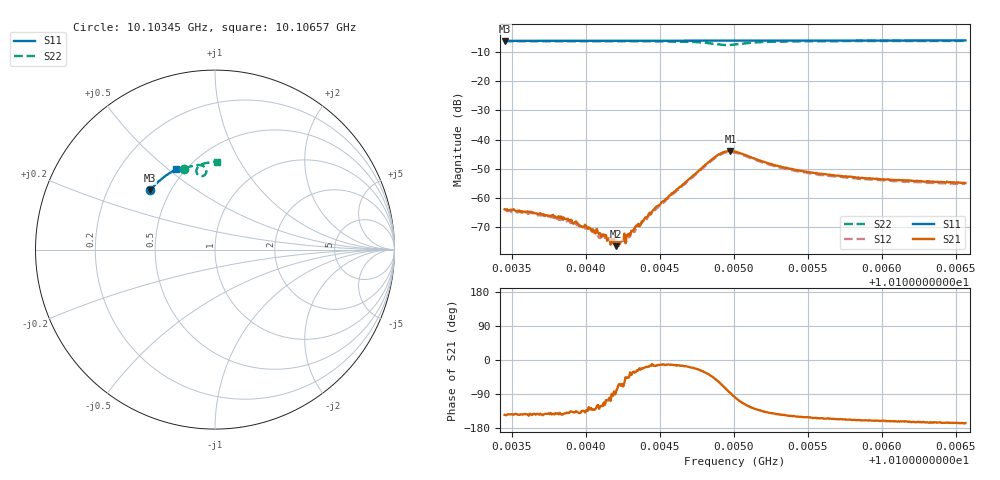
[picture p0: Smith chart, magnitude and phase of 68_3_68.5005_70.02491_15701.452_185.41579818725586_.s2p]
#  HZ  S  RI  R  50.00
! Rohde & Schwarz Vector Network Analyzer
! Rohde-Schwarz,ZNB20-2Port,1311601062101988,3.16
! Created: UTC 3/20/2024, 4:51:38 PM
! freq[Hz]  re:S11  im:S11  re:S21  im:S21  re:S12  im:S12  re:S22  im:S22
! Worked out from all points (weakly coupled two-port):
!   401 points, 10.10345 GHz to 10.10657 GHz, reference 50 ohm
!   highest |S21| = -43.93 dB at 10.10498 GHz (marker M1); lowest = -76.5 dB at 10.10421 GHz (marker M2)
!   lowest |S11| = -6.2 dB at 10.10345 GHz (marker M3), VSWR 2.92, Z = 19.4 + j16.9 ohm
!   |S11| at or under -10 dB: nowhere
!   |S22| runs from -7.6 to -6.2 dB; largest |S21 - S12| = 0.00067
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1.0103452e10  -0.3607 0.3312  -0.000521 -0.000372  -0.000486 -0.000391  -0.1704 0.4511
1.0103646e10  -0.3529 0.3403  -0.000441 -0.000344  -0.000415 -0.00036  -0.1581 0.4559
1.0103833e10  -0.3453 0.3487  -0.000386 -0.000288  -0.000333 -0.000297  -0.1456 0.4603
1.0103973e10  -0.3395 0.3549  -0.000228 -0.000234  -0.000209 -0.000275  -0.136 0.4635
1.0104036e10  -0.3369 0.3577  -0.000168 -0.000227  -0.000146 -0.000231  -0.1314 0.465
1.0104098e10  -0.3342 0.3603  -0.000132 -0.00021  -8.96e-05 -0.000185  -0.1269 0.4661
1.0104121e10  -0.3332 0.3614  -8.97e-05 -0.00022  -9.43e-05 -0.000208  -0.1252 0.4666
1.0104184e10  -0.3306 0.3641  -1.38e-05 -0.000169  4.79e-06 -0.000185  -0.1204 0.4677
1.0104207e10  -0.3294 0.3652  2.36e-05 -0.000148  1.5e-05 -0.000187  -0.1186 0.4682
1.0104238e10  -0.3281 0.3665  6.71e-05 -0.000167  0.000103 -0.00015  -0.1161 0.4687
1.0104246e10  -0.3279 0.3667  8.27e-05 -0.000163  8.93e-05 -0.000147  -0.1155 0.469
1.0104285e10  -0.3261 0.3684  0.000154 -0.000167  0.000183 -0.000154  -0.1123 0.4695
1.0104339e10  -0.3238 0.3707  0.000284 -0.000171  0.000275 -0.000113  -0.1077 0.4703
1.0104495e10  -0.3168 0.3771  0.000737 -0.000166  0.000721 -9.57e-05  -0.0929 0.4716
1.0104861e10  -0.2998 0.3915  0.00332 -0.00341  0.00346 -0.00294  -0.0478 0.4349
1.0104923e10  -0.297 0.3939  0.00235 -0.00549  0.00275 -0.00504  -0.0594 0.4143
1.0104977e10  -0.2946 0.3957  0.000275 -0.00635  0.000793 -0.00607  -0.0816 0.4097
1.0105009e10  -0.2933 0.397  -0.000942 -0.00616  -0.000404 -0.00593  -0.0928 0.4148
1.0105273e10  -0.2807 0.407  -0.00284 -0.00229  -0.00257 -0.00241  -0.0895 0.4654
1.010553e10  -0.2683 0.4163  -0.0024 -0.00125  -0.00219 -0.00141  -0.0658 0.478
1.0106051e10  -0.2417 0.4336  -0.00194 -0.000664  -0.00183 -0.000788  -0.0263 0.4863
1.0106565e10  -0.2146 0.449  -0.00176 -0.000422  -0.00164 -0.000549  0.00888 0.4891
